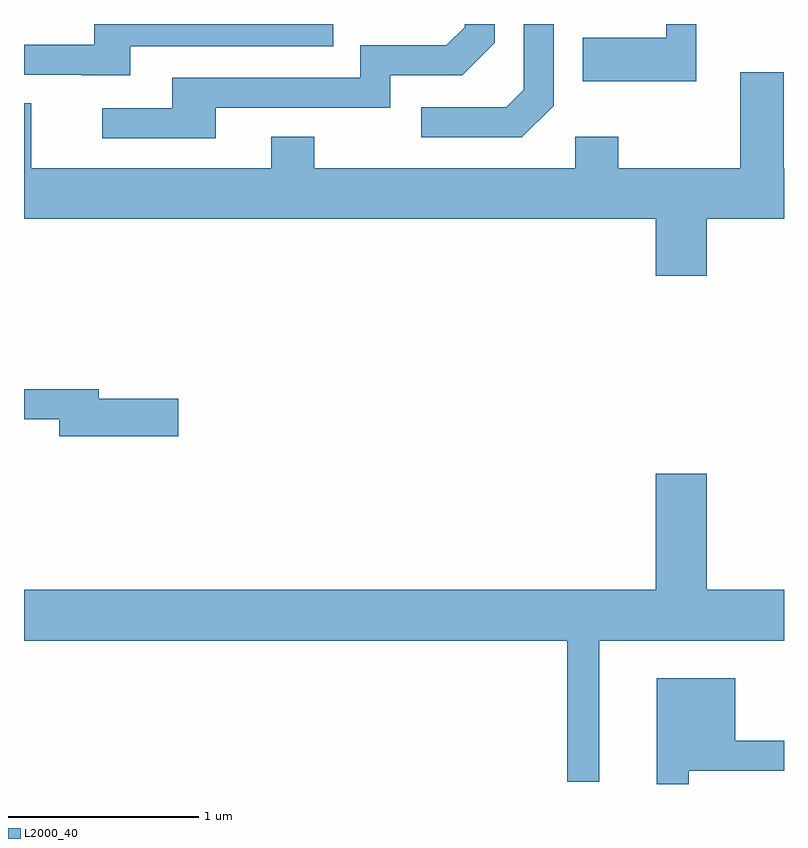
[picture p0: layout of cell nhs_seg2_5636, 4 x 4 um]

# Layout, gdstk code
import gdstk
lib = gdstk.Library(unit=1e-6, precision=1e-09)
def P(c, l, *ps):  # polygons
    for p in ps: c.add(gdstk.Polygon(p, *l))
L2000_40 = (2000, 40)

nhs_seg2_5636 = lib.new_cell('nhs_seg2_5636')
P(nhs_seg2_5636, L2000_40, [(354.399,1033.373),(354.399,1033.802),(354.241,1033.802),(354.241,1033.457),(354.149,1033.364),(353.703,1033.364),(353.703,1033.206),(354.232,1033.206)],
  [(352.619,1033.361),(353.539,1033.361),(353.539,1033.531),(353.917,1033.531),(354.089,1033.704),(354.089,1033.802),(353.931,1033.802),(353.931,1033.786),(353.834,1033.689),(353.381,1033.689),(353.381,1033.519),(352.391,1033.519),(352.391,1033.359),(352.023,1033.359),(352.023,1033.201),(352.619,1033.201)],
  [(352.169,1033.686),(353.238,1033.686),(353.238,1033.802),(351.981,1033.802),(351.981,1033.694),(351.611,1033.694),(351.611,1033.536),(351.915,1033.536),(351.915,1033.531),(352.169,1033.531)],
  [(355.149,1033.802),(354.991,1033.802),(354.991,1033.729),(354.551,1033.729),(354.551,1033.501),(355.149,1033.501)],
  [(352.911,1033.209),(352.911,1033.044),(351.649,1033.044),(351.649,1033.384),(351.611,1033.384),(351.611,1032.776),(354.936,1032.776),(354.936,1032.476),(355.204,1032.476),(355.204,1032.776),(355.611,1032.776),(355.611,1033.044),(355.609,1033.044),(355.609,1033.549),(355.381,1033.549),(355.381,1033.044),(354.739,1033.044),(354.739,1033.209),(354.511,1033.209),(354.511,1033.044),(353.139,1033.044),(353.139,1033.209)],
  [(352.424,1031.829),(352.004,1031.829),(352.004,1031.879),(351.611,1031.879),(351.611,1031.721),(351.796,1031.721),(351.796,1031.631),(352.424,1031.631)],
  [(354.639,1030.556),(355.611,1030.556),(355.611,1030.824),(355.204,1030.824),(355.204,1031.434),(354.936,1031.434),(354.936,1030.824),(351.611,1030.824),(351.611,1030.556),(354.471,1030.556),(354.471,1029.813),(354.639,1029.813)],
  [(355.109,1029.871),(355.611,1029.871),(355.611,1030.029),(355.354,1030.029),(355.354,1030.359),(354.941,1030.359),(354.941,1029.802),(355.109,1029.802)])

lib.write_gds('nhs_seg2_5636.gds')
